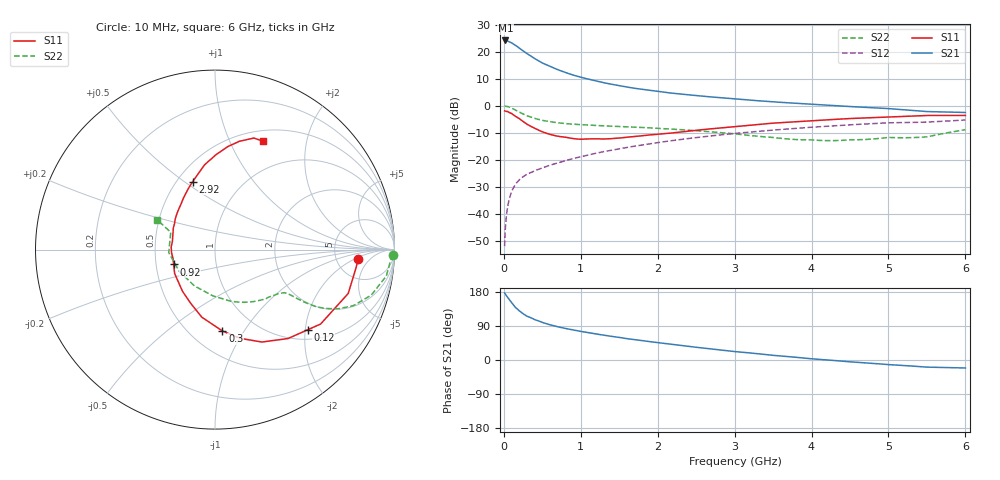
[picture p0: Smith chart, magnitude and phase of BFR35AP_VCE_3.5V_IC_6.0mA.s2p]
! Infineon Technologies  Discrete & RF Semiconductors
! BFR35AP
! VCE =  3.5 V,  IC =  6.0 mA
! Common Emitter S-Parameters:  Nov 2015
# GHz  S  MA  R  50
!  f  S11  S21  S12  S22
! GHz  MAG  ANG  MAG  ANG  MAG  ANG  MAG  ANG
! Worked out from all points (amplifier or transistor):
!   210 points, 10 MHz to 6 GHz, reference 50 ohm
!   highest |S21| = 24.2 dB at 20 MHz (marker M1)
!   |S21| within 3 dB of that: start of sweep to 209.4 MHz
!   unconditionally stable (mu >= 1): 742 MHz to 3.432 GHz
!   at 185 MHz: K = 0.42, MSG = 24.8 dB, |S12| = -27.9 dB
!   at 1.52 GHz: K = 1.12, MAG = 9.5 dB, |S12| = -15.9 dB
!   at 6 GHz: K = 0.95, MSG = 1.4 dB, |S12| = -5.3 dB
!   S11 on the Smith chart (normalised r, x): 10 MHz: 8.27, -2.43; 120 MHz: 1.23, -2.06; 300 MHz: 0.70, -0.81; 920 MHz: 0.62, -0.11; 2.92 GHz: 0.60, +0.54; 6 GHz: 0.63, +1.34
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0.01  0.7999 -3.8  16.14 176.9  0.0025 88.2  0.9907 -1.7
0.02  0.792 -7.5  16.17 173.5  0.0055 84.9  0.9801 -3.6
0.05  0.7815 -18.2  15.78 164.8  0.0136 79.6  0.9659 -8.8
0.1  0.7198 -35.2  14.64 151.5  0.0255 72.6  0.9064 -16.3
0.12  0.6825 -40.9  13.99 146.8  0.0292 69.4  0.8752 -18.5
0.15  0.6411 -50.6  13.22 138.9  0.0349 65.9  0.831 -22.1
0.2  0.5774 -63.1  11.71 129.9  0.0423 62.6  0.7629 -25.6
0.24  0.5233 -72.1  10.63 123.7  0.0471 60.3  0.7142 -27.4
0.3  0.4552 -84.8  9.255 115.6  0.0536 58.5  0.6511 -29.4
0.4  0.3838 -101.0  7.479 106.7  0.062 57.7  0.5799 -30.4
0.5  0.3289 -114.2  6.187 98.9  0.0704 57.6  0.5351 -30.8
0.6  0.2948 -127.8  5.327 92.9  0.079 58.1  0.505 -30.9
0.7  0.2722 -139.1  4.656 87.6  0.087 58.8  0.4827 -31.1
0.92  0.2442 -160.2  3.625 78.5  0.1066 59.3  0.4526 -32.1
1.02  0.2394 -169.7  3.312 74.9  0.115 59.5  0.4441 -33.0
1.4  0.2455 163.4  2.491 62.3  0.1497 58.9  0.4185 -37.3
2.02  0.2976 134.1  1.824 45.3  0.2093 55.0  0.3804 -47.6
2.92  0.3987 108.1  1.367 24.2  0.2982 46.2  0.3083 -70.1
3.1  0.4208 104.3  1.303 20.5  0.3153 44.1  0.2905 -76.2
4.1  0.5376 88.1  1.045 1.7  0.408 31.7  0.2277 -125.5
5.1  0.626 75.9  0.862 -13.3  0.484 17.7  0.2555 178.7
6  0.6603 66.0  0.749 -21.1  0.5428 7.4  0.3603 152.8
